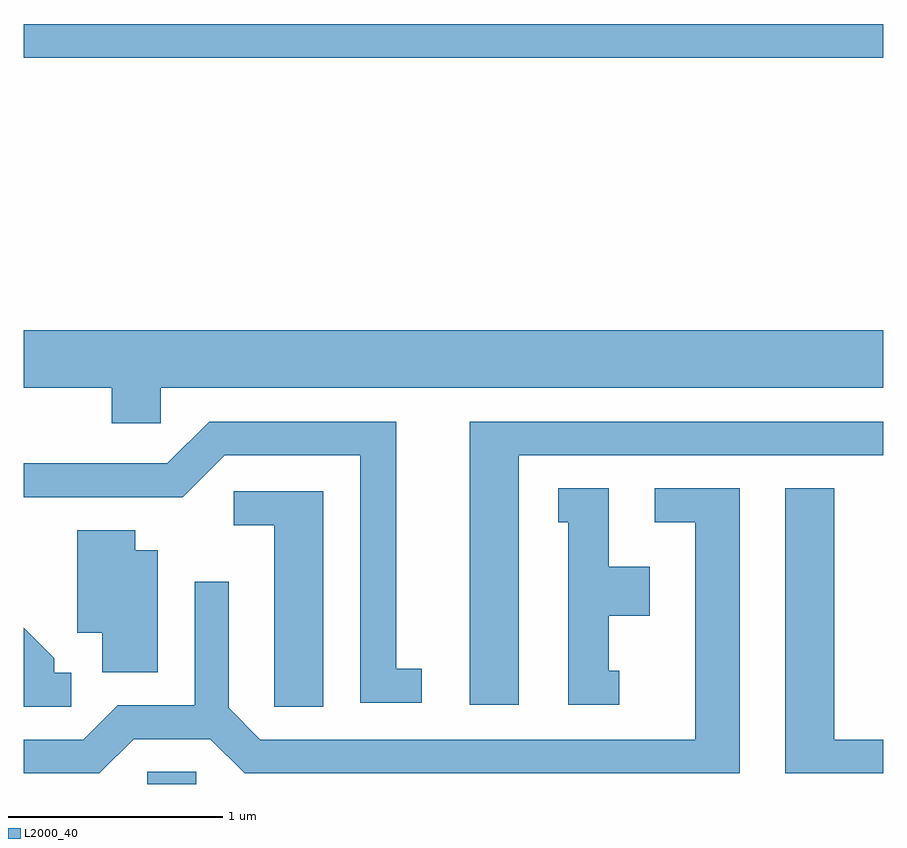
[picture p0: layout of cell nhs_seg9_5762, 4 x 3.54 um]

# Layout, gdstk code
import gdstk
lib = gdstk.Library(unit=1e-6, precision=1e-09)
def R(c, l, rs):  # rectangles x0, y0, x1, y1
    for r in rs: c.add(gdstk.rectangle(r[:2], r[2:], *l))
def P(c, l, *ps):  # polygons
    for p in ps: c.add(gdstk.Polygon(p, *l))
L2000_40 = (2000, 40)

nhs_seg9_5762 = lib.new_cell('nhs_seg9_5762')
R(nhs_seg9_5762, L2000_40, [(356.186,1974.432,356.414,1974.489), (355.611,1977.811,359.611,1977.969)])
P(nhs_seg9_5762, L2000_40, [(356.249,1976.276),(359.611,1976.276),(359.611,1976.544),(355.611,1976.544),(355.611,1976.276),(356.021,1976.276),(356.021,1976.111),(356.249,1976.111)],
  [(357.914,1975.961),(359.611,1975.961),(359.611,1976.119),(357.686,1976.119),(357.686,1974.801),(357.914,1974.801)],
  [(357.463,1974.969),(357.344,1974.969),(357.344,1976.119),(356.474,1976.119),(356.279,1975.924),(355.611,1975.924),(355.611,1975.766),(356.352,1975.766),(356.547,1975.961),(357.176,1975.961),(357.176,1974.811),(357.463,1974.811)],
  [(356.122,1974.641),(356.479,1974.641),(356.639,1974.481),(358.944,1974.481),(358.944,1975.809),(358.548,1975.809),(358.548,1975.651),(358.736,1975.651),(358.736,1974.639),(356.712,1974.639),(356.564,1974.787),(356.564,1975.373),(356.406,1975.373),(356.406,1974.799),(356.049,1974.799),(355.889,1974.639),(355.611,1974.639),(355.611,1974.481),(355.962,1974.481)],
  [(358.383,1974.959),(358.334,1974.959),(358.334,1975.216),(358.524,1975.216),(358.524,1975.444),(358.334,1975.444),(358.334,1975.809),(358.098,1975.809),(358.098,1975.651),(358.146,1975.651),(358.146,1974.801),(358.383,1974.801)],
  [(359.611,1974.639),(359.384,1974.639),(359.384,1975.809),(359.156,1975.809),(359.156,1974.481),(359.611,1974.481)],
  [(357.004,1975.794),(356.588,1975.794),(356.588,1975.636),(356.776,1975.636),(356.776,1974.791),(357.004,1974.791)],
  [(356.234,1975.519),(356.129,1975.519),(356.129,1975.614),(355.861,1975.614),(355.861,1975.136),(355.976,1975.136),(355.976,1974.951),(356.234,1974.951)],
  [(355.833,1974.949),(355.754,1974.949),(355.754,1975.017),(355.611,1975.16),(355.611,1974.791),(355.833,1974.791)])

lib.write_gds('nhs_seg9_5762.gds')
